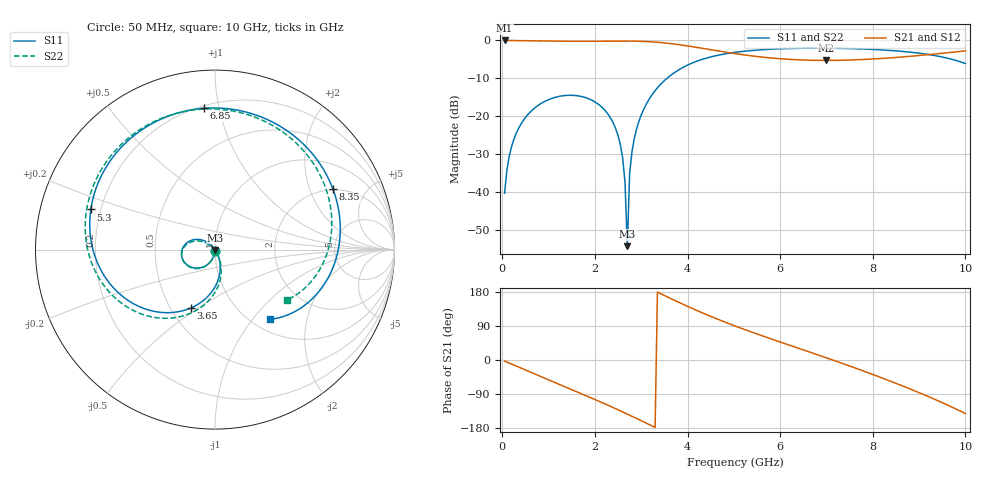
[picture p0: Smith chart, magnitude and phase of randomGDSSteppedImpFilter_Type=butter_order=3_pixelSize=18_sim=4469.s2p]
! freq	dB(S11)	phase(S11)	dB(S12)	phase(S12)
!  dB(S21)	phase(S21)	dB(S22)	phase(S22)
!S-par simulation data
#  GHz  S  DB  R 50
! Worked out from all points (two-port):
!   200 points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, 50 MHz to 10 GHz, reference 50 ohm
!   highest |S21| = -0.02 dB at 50 MHz (marker M1); lowest = -5.3 dB at 7 GHz (marker M2)
!   |S21| within 3 dB of the highest: start of sweep to 4.781 GHz; 9.799 GHz to end of sweep
!   lowest |S11| = -54.3 dB at 2.7 GHz (marker M3), VSWR 1.00, Z = 50.1 - j0.184 ohm
!   |S11| at or under -10 dB: start of sweep to 3.557 GHz
!   |S22| runs from -46.6 to -2.0 dB; largest |S21 - S12| = 0
!   S11 on the Smith chart (normalised r, x): 50 MHz: 1.00, -0.02; 3.65 GHz: 0.63, -0.47; 5.3 GHz: 0.16, +0.15; 6.85 GHz: 0.22, +0.90; 8.35 GHz: 1.97, +2.92; 10 GHz: 1.19, -1.23
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0.05  -40.32 -93.8  -0.02 -2.8  -0.02 -2.8  -40.22 -93.1
0.2  -28.03 -102.1  -0.04 -10.7  -0.04 -10.7  -28.04 -101.6
0.5  -20.35 -117.7  -0.08 -26.5  -0.08 -26.5  -20.35 -116.8
1.15  -14.99 -151.9  -0.21 -60.2  -0.21 -60.2  -14.99 -149.9
1.75  -14.92 176.7  -0.25 -91.1  -0.25 -91.1  -14.93 179.9
2.2  -18.22 152.5  -0.20 -114.9  -0.20 -114.9  -18.23 157.1
2.5  -25.12 135.9  -0.17 -131.4  -0.17 -131.4  -25.15 143.1
2.65  -37.51 127.9  -0.17 -139.9  -0.17 -139.9  -37.40 147.4
2.7  -54.27 -71.4  -0.17 -142.7  -0.17 -142.7  -46.61 -115.0
2.75  -35.05 -59.3  -0.18 -145.6  -0.18 -145.6  -34.68 -66.4
2.85  -25.89 -64.8  -0.20 -151.4  -0.20 -151.4  -25.79 -64.5
3.4  -11.83 -97.5  -0.55 176.2  -0.55 176.2  -11.81 -92.7
3.65  -9.09 -112.3  -0.87 161.5  -0.87 161.5  -9.07 -106.8
4.3  -5.07 -149.0  -2.05 125.4  -2.05 125.4  -5.06 -141.5
5.05  -3.11 173.6  -3.53 88.7  -3.53 88.7  -3.10 -176.6
5.3  -2.77 162.1  -3.96 77.5  -3.96 77.5  -2.76 172.7
6.7  -2.05 101.0  -5.25 18.3  -5.25 18.3  -2.05 116.8
6.85  -2.05 94.5  -5.28 12.0  -5.28 12.0  -2.05 110.8
7  -2.06 88.0  -5.28 5.7  -5.28 5.7  -2.06 104.9
8.35  -2.63 27.1  -4.64 -54.4  -4.64 -54.4  -2.63 47.8
9.2  -3.72 -13.3  -3.76 -96.5  -3.76 -96.5  -3.71 7.3
10  -6.12 -51.8  -2.77 -141.2  -2.77 -141.2  -6.18 -34.7
